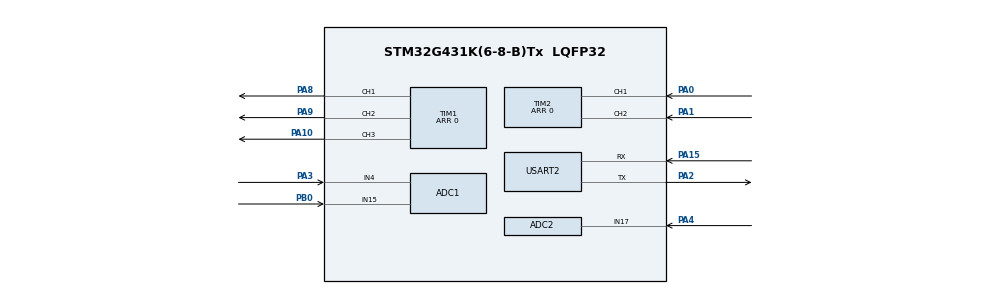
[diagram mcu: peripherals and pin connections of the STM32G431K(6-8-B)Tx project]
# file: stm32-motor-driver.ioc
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ADC1.EOCSelection=ADC_EOC_SEQ_CONV
ADC1.EnableInjectedConversion=ENABLE
ADC1.EnableRegularConversion=DISABLE
ADC1.ExternalTrigInjecConv=ADC_EXTERNALTRIGINJEC_T1_TRGO
ADC1.InjNumberOfConversion=2
ADC1.InjectedChannel-2\#ChannelInjectedConversion=ADC_CHANNEL_4
ADC1.InjectedChannel-3\#ChannelInjectedConversion=ADC_CHANNEL_15
ADC1.InjectedOffsetNumber-2\#ChannelInjectedConversion=ADC_OFFSET_NONE
ADC1.InjectedOffsetNumber-3\#ChannelInjectedConversion=ADC_OFFSET_NONE
ADC1.InjectedRank-2\#ChannelInjectedConversion=1
ADC1.InjectedRank-3\#ChannelInjectedConversion=2
ADC1.InjectedSamplingTime-2\#ChannelInjectedConversion=ADC_SAMPLETIME_24CYCLES_5
ADC1.InjectedSamplingTime-3\#ChannelInjectedConversion=ADC_SAMPLETIME_24CYCLES_5
ADC1.Rank1_Channel=ADC_CHANNEL_4
ADC1.Rank2_Channel=ADC_CHANNEL_15
ADC1.master=1
ADC2.EOCSelection=ADC_EOC_SEQ_CONV
ADC2.EnableInjectedConversion=ENABLE
ADC2.EnableRegularConversion=DISABLE
ADC2.ExternalTrigInjecConv=ADC_EXTERNALTRIGINJEC_T1_TRGO
ADC2.InjNumberOfConversion=1
ADC2.InjectedChannel-1\#ChannelInjectedConversion=ADC_CHANNEL_17
ADC2.InjectedOffsetNumber-1\#ChannelInjectedConversion=ADC_OFFSET_NONE
ADC2.InjectedRank-1\#ChannelInjectedConversion=1
ADC2.InjectedSamplingTime-1\#ChannelInjectedConversion=ADC_SAMPLETIME_24CYCLES_5
ADC2.Rank1_Channel=ADC_CHANNEL_17
ADC2.Rank2_Channel=ADC_CHANNEL_17
Dma.Request0=USART2_TX
Dma.USART2_TX.0.Direction=DMA_MEMORY_TO_PERIPH
Dma.USART2_TX.0.EventEnable=DISABLE
Dma.USART2_TX.0.Instance=DMA1_Channel1
Dma.USART2_TX.0.MemDataAlignment=DMA_MDATAALIGN_BYTE
Dma.USART2_TX.0.MemInc=DMA_MINC_ENABLE
Dma.USART2_TX.0.Mode=DMA_CIRCULAR
Dma.USART2_TX.0.PeriphDataAlignment=DMA_PDATAALIGN_BYTE
Dma.USART2_TX.0.PeriphInc=DMA_PINC_DISABLE
Dma.USART2_TX.0.Polarity=HAL_DMAMUX_REQ_GEN_RISING
Dma.USART2_TX.0.Priority=DMA_PRIORITY_LOW
Dma.USART2_TX.0.RequestNumber=1
Dma.USART2_TX.0.SignalID=NONE
Dma.USART2_TX.0.SyncEnable=DISABLE
Dma.USART2_TX.0.SyncPolarity=HAL_DMAMUX_SYNC_NO_EVENT
Dma.USART2_TX.0.SyncRequestNumber=1
Dma.USART2_TX.0.SyncSignalID=NONE
Mcu.Family=STM32G4
Mcu.Name=STM32G431K(6-8-B)Tx
Mcu.Package=LQFP32
NVIC.ADC1_2_IRQn=true\:0\:0\:false\:false\:true\:true\:true\:true
NVIC.DMA1_Channel1_IRQn=true\:0\:0\:false\:false\:true\:false\:true\:true
NVIC.PriorityGroup=NVIC_PRIORITYGROUP_4
NVIC.TIM1_TRG_COM_TIM17_IRQn=true\:0\:0\:false\:false\:true\:true\:true\:true
NVIC.TIM1_UP_TIM16_IRQn=true\:0\:0\:false\:false\:true\:true\:true\:true
NVIC.TIM2_IRQn=true\:0\:0\:false\:false\:true\:true\:true\:true
NVIC.TIM7_IRQn=true\:0\:0\:false\:false\:true\:true\:true\:true
PA0.Signal=S_TIM2_CH1
PA1.Signal=S_TIM2_CH2
PA10.Signal=S_TIM1_CH3
PA15.Mode=Asynchronous
PA15.Signal=USART2_RX
PA2.Mode=Asynchronous
PA2.Signal=USART2_TX
PA3.Mode=IN4-Single-Ended
PA3.Signal=ADC1_IN4
PA4.Mode=IN17-Single-Ended
PA4.Signal=ADC2_IN17
PA8.Signal=S_TIM1_CH1
PA9.Signal=S_TIM1_CH2
PB0.Mode=IN15-Single-Ended
PB0.Signal=ADC1_IN15
ProjectManager.HeapSize=0x200
ProjectManager.StackSize=0x400
ProjectManager.TargetToolchain=STM32CubeIDE
RCC.ADC12Freq_Value=170000000
RCC.AHBFreq_Value=170000000
RCC.APB1Freq_Value=170000000
RCC.APB1TimFreq_Value=170000000
RCC.APB2Freq_Value=170000000
RCC.APB2TimFreq_Value=170000000
RCC.CortexFreq_Value=170000000
RCC.EXTERNAL_CLOCK_VALUE=12288000
RCC.HCLKFreq_Value=170000000
RCC.HSE_VALUE=8000000
RCC.HSI48_VALUE=48000000
RCC.HSI_VALUE=16000000
RCC.LSE_VALUE=32768
RCC.PLLM=RCC_PLLM_DIV4
RCC.PLLN=85
RCC.SYSCLKFreq_VALUE=170000000
RCC.SYSCLKSource=RCC_SYSCLKSOURCE_PLLCLK
RCC.USBFreq_Value=170000000
RCC.VCOOutputFreq_Value=340000000
SH.S_TIM1_CH1.0=TIM1_CH1,PWM Generation1 CH1
SH.S_TIM1_CH2.0=TIM1_CH2,PWM Generation2 CH2
SH.S_TIM1_CH3.0=TIM1_CH3,PWM Generation3 CH3
SH.S_TIM2_CH1.0=TIM2_CH1,Encoder_Interface
SH.S_TIM2_CH2.0=TIM2_CH2,Encoder_Interface
TIM1.Channel-Output\ Compare4\ No\ Output=TIM_CHANNEL_4
TIM1.Channel-PWM\ Generation1\ CH1=TIM_CHANNEL_1
TIM1.Channel-PWM\ Generation2\ CH2=TIM_CHANNEL_2
TIM1.Channel-PWM\ Generation3\ CH3=TIM_CHANNEL_3
TIM1.CounterMode=TIM_COUNTERMODE_CENTERALIGNED1
TIM1.OCMode_4=TIM_OCMODE_PULSE_ON_COMPARE
TIM1.PeriodNoDither=0
TIM1.TIM_MasterOutputTrigger=TIM_TRGO_OC4REF
TIM16.PeriodNoDither=10000
TIM16.Prescaler=169
TIM17.PeriodNoDither=100
TIM17.Prescaler=169
TIM2.PeriodNoDither=0
TIM7.AutoReloadPreload=TIM_AUTORELOAD_PRELOAD_DISABLE
TIM7.PeriodNoDither=1000
TIM7.Prescaler=169
USART2.VirtualMode-Asynchronous=VM_ASYNC
VP_CORDIC_VS_CORDIC.Mode=CORDIC_Activate
VP_SYS_VS_DBSignals.Mode=DisableDeadBatterySignals
VP_TIM16_VS_ClockSourceINT.Mode=Enable_Timer
VP_TIM17_VS_ClockSourceINT.Mode=Enable_Timer
VP_TIM1_VS_no_output4.Mode=Output Compare4 No Output
VP_TIM7_VS_ClockSourceINT.Mode=Enable_Timer
board=custom

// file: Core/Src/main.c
/* USER CODE BEGIN Header */
/**
  ******************************************************************************
  * @file           : main.c
  * @brief          : Main program body
  ******************************************************************************
  * @attention
  *
  * Copyright (c) 2025 STMicroelectronics.
  * All rights reserved.
  *
  * This software is licensed under terms that can be found in the LICENSE file
  * in the root directory of this software component.
  * If no LICENSE file comes with this software, it is provided AS-IS.
  *
  ******************************************************************************
  */
/* USER CODE END Header */
#include "main.h"

/* USER CODE BEGIN Includes */
#include "constants.h"
#include "motorControl.h"
#include "simple_rpm_dma.h"
/* USER CODE END Includes */

UART_HandleTypeDef huart2;
DMA_HandleTypeDef hdma_usart2_tx;

void SystemClock_Config(void);
static void MX_GPIO_Init(void);
static void MX_DMA_Init(void);
static void MX_TIM1_Init(void);
static void MX_CORDIC_Init(void);
static void MX_TIM2_Init(void);
static void MX_TIM7_Init(void);
static void MX_TIM16_Init(void);
static void MX_TIM17_Init(void);
static void MX_ADC1_Init(void);
static void MX_ADC2_Init(void);
static void MX_USART2_UART_Init(void);

int main(void)
{

  /* MCU Configuration--------------------------------------------------------*/

  /* Reset of all peripherals, Initializes the Flash interface and the Systick. */
  HAL_Init();

  /* Configure the system clock */
  SystemClock_Config();

  /* Initialize all configured peripherals */
  MX_GPIO_Init();
  MX_DMA_Init();
  MX_TIM1_Init();
  MX_CORDIC_Init();
  MX_TIM2_Init();
  MX_TIM7_Init();
  MX_TIM16_Init();
  MX_TIM17_Init();
  MX_ADC1_Init();
  MX_ADC2_Init();
  MX_USART2_UART_Init();
  /* USER CODE BEGIN 2 */

  // Start continuous RPM transmission
  RPM_DMA_Init();

  /* USER CODE END 2 */

  /* Infinite loop */
  /* USER CODE BEGIN WHILE */

  TIM1->ARR = PWM_PERIOD;
  LL_TIM_EnableCounter(TIM1);
  LL_TIM_CC_EnableChannel(TIM1, LL_TIM_CHANNEL_CH1);
  LL_TIM_CC_EnableChannel(TIM1, LL_TIM_CHANNEL_CH2);
  LL_TIM_CC_EnableChannel(TIM1, LL_TIM_CHANNEL_CH3);
  // Channel 4 used to trigger ADC
  LL_TIM_CC_EnableChannel(TIM1, LL_TIM_CHANNEL_CH4);
  LL_TIM_OC_SetCompareCH4(TIM1, PWM_PERIOD - 165);

  LL_TIM_EnableAllOutputs(TIM1);

  LL_ADC_INJ_StartConversion(ADC2);
  LL_ADC_INJ_StartConversion(ADC1);

  mainLoop();

  while (1)
  {
    /* USER CODE END WHILE */

  }
}

void SystemClock_Config(void)
{
  LL_FLASH_SetLatency(LL_FLASH_LATENCY_4);
  while(LL_FLASH_GetLatency() != LL_FLASH_LATENCY_4)
  {
  }
  LL_PWR_EnableRange1BoostMode();
  LL_RCC_HSI_Enable();
   /* Wait till HSI is ready */
  while(LL_RCC_HSI_IsReady() != 1)
  {
  }

  LL_RCC_HSI_SetCalibTrimming(64);
  LL_RCC_PLL_ConfigDomain_SYS(LL_RCC_PLLSOURCE_HSI, LL_RCC_PLLM_DIV_4, 85, LL_RCC_PLLR_DIV_2);
  LL_RCC_PLL_EnableDomain_SYS();
  LL_RCC_PLL_Enable();
   /* Wait till PLL is ready */
  while(LL_RCC_PLL_IsReady() != 1)
  {
  }

  LL_RCC_SetSysClkSource(LL_RCC_SYS_CLKSOURCE_PLL);
  LL_RCC_SetAHBPrescaler(LL_RCC_SYSCLK_DIV_2);
   /* Wait till System clock is ready */
  while(LL_RCC_GetSysClkSource() != LL_RCC_SYS_CLKSOURCE_STATUS_PLL)
  {
  }

  /* Insure 1us transition state at intermediate medium speed clock*/
  for (__IO uint32_t i = (170 >> 1); i !=0; i--);

  /* Set AHB prescaler*/
  LL_RCC_SetAHBPrescaler(LL_RCC_SYSCLK_DIV_1);
  LL_RCC_SetAPB1Prescaler(LL_RCC_APB1_DIV_1);
  LL_RCC_SetAPB2Prescaler(LL_RCC_APB2_DIV_1);
  LL_SetSystemCoreClock(170000000);

   /* Update the time base */
  if (HAL_InitTick (TICK_INT_PRIORITY) != HAL_OK)
  {
    Error_Handler();
  }
}

static void MX_ADC1_Init(void)
{

  LL_ADC_InitTypeDef ADC_InitStruct = {0};
  LL_ADC_REG_InitTypeDef ADC_REG_InitStruct = {0};
  LL_ADC_CommonInitTypeDef ADC_CommonInitStruct = {0};
  LL_ADC_INJ_InitTypeDef ADC_INJ_InitStruct = {0};

  LL_GPIO_InitTypeDef GPIO_InitStruct = {0};

  LL_RCC_SetADCClockSource(LL_RCC_ADC12_CLKSOURCE_SYSCLK);

  /* Peripheral clock enable */
  LL_AHB2_GRP1_EnableClock(LL_AHB2_GRP1_PERIPH_ADC12);

  LL_AHB2_GRP1_EnableClock(LL_AHB2_GRP1_PERIPH_GPIOA);
  LL_AHB2_GRP1_EnableClock(LL_AHB2_GRP1_PERIPH_GPIOB);
  /**ADC1 GPIO Configuration
  PA3   ------> ADC1_IN4
  PB0   ------> ADC1_IN15
  */
  GPIO_InitStruct.Pin = LL_GPIO_PIN_3;
  GPIO_InitStruct.Mode = LL_GPIO_MODE_ANALOG;
  GPIO_InitStruct.Pull = LL_GPIO_PULL_NO;
  LL_GPIO_Init(GPIOA, &GPIO_InitStruct);

  GPIO_InitStruct.Pin = LL_GPIO_PIN_0;
  GPIO_InitStruct.Mode = LL_GPIO_MODE_ANALOG;
  GPIO_InitStruct.Pull = LL_GPIO_PULL_NO;
  LL_GPIO_Init(GPIOB, &GPIO_InitStruct);

  /* ADC1 interrupt Init */
  NVIC_SetPriority(ADC1_2_IRQn, NVIC_EncodePriority(NVIC_GetPriorityGrouping(),0, 0));
  NVIC_EnableIRQ(ADC1_2_IRQn);

  /** Common config
  */
  ADC_InitStruct.Resolution = LL_ADC_RESOLUTION_12B;
  ADC_InitStruct.DataAlignment = LL_ADC_DATA_ALIGN_RIGHT;
  ADC_InitStruct.LowPowerMode = LL_ADC_LP_MODE_NONE;
  LL_ADC_Init(ADC1, &ADC_InitStruct);
  ADC_REG_InitStruct.SequencerLength = LL_ADC_REG_SEQ_SCAN_DISABLE;
  ADC_REG_InitStruct.SequencerDiscont = LL_ADC_REG_SEQ_DISCONT_DISABLE;
  ADC_REG_InitStruct.ContinuousMode = LL_ADC_REG_CONV_SINGLE;
  ADC_REG_InitStruct.DMATransfer = LL_ADC_REG_DMA_TRANSFER_NONE;
  ADC_REG_InitStruct.Overrun = LL_ADC_REG_OVR_DATA_PRESERVED;
  LL_ADC_REG_Init(ADC1, &ADC_REG_InitStruct);
  LL_ADC_SetGainCompensation(ADC1, 0);
  LL_ADC_SetOverSamplingScope(ADC1, LL_ADC_OVS_DISABLE);
  ADC_CommonInitStruct.CommonClock = LL_ADC_CLOCK_SYNC_PCLK_DIV4;
  ADC_CommonInitStruct.Multimode = LL_ADC_MULTI_INDEPENDENT;
  LL_ADC_CommonInit(__LL_ADC_COMMON_INSTANCE(ADC1), &ADC_CommonInitStruct);
  ADC_INJ_InitStruct.TriggerSource = LL_ADC_INJ_TRIG_EXT_TIM1_TRGO;
  ADC_INJ_InitStruct.SequencerLength = LL_ADC_INJ_SEQ_SCAN_ENABLE_2RANKS;
  ADC_INJ_InitStruct.SequencerDiscont = LL_ADC_INJ_SEQ_DISCONT_DISABLE;
  ADC_INJ_InitStruct.TrigAuto = LL_ADC_INJ_TRIG_INDEPENDENT;
  LL_ADC_INJ_Init(ADC1, &ADC_INJ_InitStruct);
  LL_ADC_INJ_SetQueueMode(ADC1, LL_ADC_INJ_QUEUE_DISABLE);
  LL_ADC_INJ_SetTriggerEdge(ADC1, LL_ADC_INJ_TRIG_EXT_RISING);

  /* Disable ADC deep power down (enabled by default after reset state) */
  LL_ADC_DisableDeepPowerDown(ADC1);
  /* Enable ADC internal voltage regulator */
  LL_ADC_EnableInternalRegulator(ADC1);
  /* Delay for ADC internal voltage regulator stabilization. */
  /* Compute number of CPU cycles to wait for, from delay in us. */
  /* Note: Variable divided by 2 to compensate partially */
  /* CPU processing cycles (depends on compilation optimization). */
  /* Note: If system core clock frequency is below 200kHz, wait time */
  /* is only a few CPU processing cycles. */
  uint32_t wait_loop_index;
  wait_loop_index = ((LL_ADC_DELAY_INTERNAL_REGUL_STAB_US * (SystemCoreClock / (100000 * 2))) / 10);
  while(wait_loop_index != 0)
  {
    wait_loop_index--;
  }

  /** Configure Injected Channel
  */
  LL_ADC_INJ_SetSequencerRanks(ADC1, LL_ADC_INJ_RANK_1, LL_ADC_CHANNEL_4);
  LL_ADC_SetChannelSamplingTime(ADC1, LL_ADC_CHANNEL_4, LL_ADC_SAMPLINGTIME_24CYCLES_5);
  LL_ADC_SetChannelSingleDiff(ADC1, LL_ADC_CHANNEL_4, LL_ADC_SINGLE_ENDED);

  /** Configure Injected Channel
  */
  LL_ADC_INJ_SetSequencerRanks(ADC1, LL_ADC_INJ_RANK_2, LL_ADC_CHANNEL_15);
  LL_ADC_SetChannelSamplingTime(ADC1, LL_ADC_CHANNEL_15, LL_ADC_SAMPLINGTIME_24CYCLES_5);
  LL_ADC_SetChannelSingleDiff(ADC1, LL_ADC_CHANNEL_15, LL_ADC_SINGLE_ENDED);
  /* USER CODE BEGIN ADC1_Init 2 */
  LL_ADC_Enable(ADC1);
  while (!LL_ADC_IsActiveFlag_ADRDY(ADC1)); // Wait until ADC ready
  LL_ADC_ClearFlag_ADRDY(ADC1); // Clear ADC ready flag

  LL_ADC_EnableIT_JEOS(ADC1);
  /* USER CODE END ADC1_Init 2 */

}

static void MX_ADC2_Init(void)
{

  LL_ADC_InitTypeDef ADC_InitStruct = {0};
  LL_ADC_REG_InitTypeDef ADC_REG_InitStruct = {0};
  LL_ADC_INJ_InitTypeDef ADC_INJ_InitStruct = {0};

  LL_GPIO_InitTypeDef GPIO_InitStruct = {0};

  LL_RCC_SetADCClockSource(LL_RCC_ADC12_CLKSOURCE_SYSCLK);

  /* Peripheral clock enable */
  LL_AHB2_GRP1_EnableClock(LL_AHB2_GRP1_PERIPH_ADC12);

  LL_AHB2_GRP1_EnableClock(LL_AHB2_GRP1_PERIPH_GPIOA);
  /**ADC2 GPIO Configuration
  PA4   ------> ADC2_IN17
  */
  GPIO_InitStruct.Pin = LL_GPIO_PIN_4;
  GPIO_InitStruct.Mode = LL_GPIO_MODE_ANALOG;
  GPIO_InitStruct.Pull = LL_GPIO_PULL_NO;
  LL_GPIO_Init(GPIOA, &GPIO_InitStruct);

  /* ADC2 interrupt Init */
  NVIC_SetPriority(ADC1_2_IRQn, NVIC_EncodePriority(NVIC_GetPriorityGrouping(),0, 0));
  NVIC_EnableIRQ(ADC1_2_IRQn);

  /** Common config
  */
  ADC_InitStruct.Resolution = LL_ADC_RESOLUTION_12B;
  ADC_InitStruct.DataAlignment = LL_ADC_DATA_ALIGN_RIGHT;
  ADC_InitStruct.LowPowerMode = LL_ADC_LP_MODE_NONE;
  LL_ADC_Init(ADC2, &ADC_InitStruct);
  ADC_REG_InitStruct.SequencerLength = LL_ADC_REG_SEQ_SCAN_DISABLE;
  ADC_REG_InitStruct.SequencerDiscont = LL_ADC_REG_SEQ_DISCONT_DISABLE;
  ADC_REG_InitStruct.ContinuousMode = LL_ADC_REG_CONV_SINGLE;
  ADC_REG_InitStruct.DMATransfer = LL_ADC_REG_DMA_TRANSFER_NONE;
  ADC_REG_InitStruct.Overrun = LL_ADC_REG_OVR_DATA_PRESERVED;
  LL_ADC_REG_Init(ADC2, &ADC_REG_InitStruct);
  LL_ADC_SetGainCompensation(ADC2, 0);
  LL_ADC_SetOverSamplingScope(ADC2, LL_ADC_OVS_DISABLE);
  ADC_INJ_InitStruct.TriggerSource = LL_ADC_INJ_TRIG_EXT_TIM1_TRGO;
  ADC_INJ_InitStruct.SequencerLength = LL_ADC_INJ_SEQ_SCAN_DISABLE;
  ADC_INJ_InitStruct.SequencerDiscont = LL_ADC_INJ_SEQ_DISCONT_DISABLE;
  ADC_INJ_InitStruct.TrigAuto = LL_ADC_INJ_TRIG_INDEPENDENT;
  LL_ADC_INJ_Init(ADC2, &ADC_INJ_InitStruct);
  LL_ADC_INJ_SetQueueMode(ADC2, LL_ADC_INJ_QUEUE_DISABLE);
  LL_ADC_INJ_SetTriggerEdge(ADC2, LL_ADC_INJ_TRIG_EXT_RISING);

  /* Disable ADC deep power down (enabled by default after reset state) */
  LL_ADC_DisableDeepPowerDown(ADC2);
  /* Enable ADC internal voltage regulator */
  LL_ADC_EnableInternalRegulator(ADC2);
  /* Delay for ADC internal voltage regulator stabilization. */
  /* Compute number of CPU cycles to wait for, from delay in us. */
  /* Note: Variable divided by 2 to compensate partially */
  /* CPU processing cycles (depends on compilation optimization). */
  /* Note: If system core clock frequency is below 200kHz, wait time */
  /* is only a few CPU processing cycles. */
  uint32_t wait_loop_index;
  wait_loop_index = ((LL_ADC_DELAY_INTERNAL_REGUL_STAB_US * (SystemCoreClock / (100000 * 2))) / 10);
  while(wait_loop_index != 0)
  {
    wait_loop_index--;
  }

  /** Configure Injected Channel
  */
  LL_ADC_INJ_SetSequencerRanks(ADC2, LL_ADC_INJ_RANK_1, LL_ADC_CHANNEL_17);
  LL_ADC_SetChannelSamplingTime(ADC2, LL_ADC_CHANNEL_17, LL_ADC_SAMPLINGTIME_24CYCLES_5);
  LL_ADC_SetChannelSingleDiff(ADC2, LL_ADC_CHANNEL_17, LL_ADC_SINGLE_ENDED);
  /* USER CODE BEGIN ADC2_Init 2 */
  LL_ADC_Enable(ADC2);
  while (!LL_ADC_IsActiveFlag_ADRDY(ADC2)); // Wait until ADC ready
  LL_ADC_ClearFlag_ADRDY(ADC2); // Clear ADC ready flag

  LL_ADC_EnableIT_JEOS(ADC2);
  /* USER CODE END ADC2_Init 2 */

}

static void MX_CORDIC_Init(void)
{

  /* Peripheral clock enable */
  LL_AHB1_GRP1_EnableClock(LL_AHB1_GRP1_PERIPH_CORDIC);

  /* USER CODE BEGIN CORDIC_Init 1 */
  LL_CORDIC_SetFunction(CORDIC, LL_CORDIC_FUNCTION_SINE);
  LL_CORDIC_SetPrecision(CORDIC, LL_CORDIC_PRECISION_5CYCLES);
  LL_CORDIC_SetNbWrite(CORDIC, LL_CORDIC_NBWRITE_1);
  LL_CORDIC_SetNbRead(CORDIC, LL_CORDIC_NBREAD_1);
  LL_CORDIC_SetInSize(CORDIC, LL_CORDIC_INSIZE_16BITS);
  LL_CORDIC_SetOutSize(CORDIC, LL_CORDIC_OUTSIZE_16BITS);
  /* USER CODE END CORDIC_Init 1 */

  /* nothing else to be configured */

}

static void MX_TIM1_Init(void)
{

  LL_TIM_InitTypeDef TIM_InitStruct = {0};
  LL_TIM_OC_InitTypeDef TIM_OC_InitStruct = {0};
  LL_TIM_BDTR_InitTypeDef TIM_BDTRInitStruct = {0};

  LL_GPIO_InitTypeDef GPIO_InitStruct = {0};

  /* Peripheral clock enable */
  LL_APB2_GRP1_EnableClock(LL_APB2_GRP1_PERIPH_TIM1);

  /* TIM1 interrupt Init */
  NVIC_SetPriority(TIM1_UP_TIM16_IRQn, NVIC_EncodePriority(NVIC_GetPriorityGrouping(),0, 0));
  NVIC_EnableIRQ(TIM1_UP_TIM16_IRQn);
  NVIC_SetPriority(TIM1_TRG_COM_TIM17_IRQn, NVIC_EncodePriority(NVIC_GetPriorityGrouping(),0, 0));
  NVIC_EnableIRQ(TIM1_TRG_COM_TIM17_IRQn);

  TIM_InitStruct.Prescaler = 0;
  TIM_InitStruct.CounterMode = LL_TIM_COUNTERMODE_CENTER_DOWN;
  TIM_InitStruct.Autoreload = 0;
  TIM_InitStruct.ClockDivision = LL_TIM_CLOCKDIVISION_DIV1;
  TIM_InitStruct.RepetitionCounter = 0;
  LL_TIM_Init(TIM1, &TIM_InitStruct);
  LL_TIM_DisableARRPreload(TIM1);
  LL_TIM_OC_EnablePreload(TIM1, LL_TIM_CHANNEL_CH1);
  TIM_OC_InitStruct.OCMode = LL_TIM_OCMODE_PWM1;
  TIM_OC_InitStruct.OCState = LL_TIM_OCSTATE_DISABLE;
  TIM_OC_InitStruct.OCNState = LL_TIM_OCSTATE_DISABLE;
  TIM_OC_InitStruct.CompareValue = 0;
  TIM_OC_InitStruct.OCPolarity = LL_TIM_OCPOLARITY_HIGH;
  TIM_OC_InitStruct.OCNPolarity = LL_TIM_OCPOLARITY_HIGH;
  TIM_OC_InitStruct.OCIdleState = LL_TIM_OCIDLESTATE_LOW;
  TIM_OC_InitStruct.OCNIdleState = LL_TIM_OCIDLESTATE_LOW;
  LL_TIM_OC_Init(TIM1, LL_TIM_CHANNEL_CH1, &TIM_OC_InitStruct);
  LL_TIM_OC_DisableFast(TIM1, LL_TIM_CHANNEL_CH1);
  LL_TIM_OC_EnablePreload(TIM1, LL_TIM_CHANNEL_CH2);
  LL_TIM_OC_Init(TIM1, LL_TIM_CHANNEL_CH2, &TIM_OC_InitStruct);
  LL_TIM_OC_DisableFast(TIM1, LL_TIM_CHANNEL_CH2);
  LL_TIM_OC_EnablePreload(TIM1, LL_TIM_CHANNEL_CH3);
  LL_TIM_OC_Init(TIM1, LL_TIM_CHANNEL_CH3, &TIM_OC_InitStruct);
  LL_TIM_OC_DisableFast(TIM1, LL_TIM_CHANNEL_CH3);
  TIM_OC_InitStruct.OCMode = LL_TIM_OCMODE_PULSE_ON_COMPARE;
  LL_TIM_OC_Init(TIM1, LL_TIM_CHANNEL_CH4, &TIM_OC_InitStruct);
  LL_TIM_OC_DisableFast(TIM1, LL_TIM_CHANNEL_CH4);
  LL_TIM_OC_SetPulseWidthPrescaler(TIM1, LL_TIM_PWPRSC_X1);
  LL_TIM_OC_SetPulseWidth(TIM1, 0);
  LL_TIM_SetTriggerOutput(TIM1, LL_TIM_TRGO_OC4REF);
  LL_TIM_SetTriggerOutput2(TIM1, LL_TIM_TRGO2_RESET);
  LL_TIM_DisableMasterSlaveMode(TIM1);
  TIM_BDTRInitStruct.OSSRState = LL_TIM_OSSR_DISABLE;
  TIM_BDTRInitStruct.OSSIState = LL_TIM_OSSI_DISABLE;
  TIM_BDTRInitStruct.LockLevel = LL_TIM_LOCKLEVEL_OFF;
  TIM_BDTRInitStruct.DeadTime = 0;
  TIM_BDTRInitStruct.BreakState = LL_TIM_BREAK_DISABLE;
  TIM_BDTRInitStruct.BreakPolarity = LL_TIM_BREAK_POLARITY_HIGH;
  TIM_BDTRInitStruct.BreakFilter = LL_TIM_BREAK_FILTER_FDIV1;
  TIM_BDTRInitStruct.BreakAFMode = LL_TIM_BREAK_AFMODE_INPUT;
  TIM_BDTRInitStruct.Break2State = LL_TIM_BREAK2_DISABLE;
  TIM_BDTRInitStruct.Break2Polarity = LL_TIM_BREAK2_POLARITY_HIGH;
  TIM_BDTRInitStruct.Break2Filter = LL_TIM_BREAK2_FILTER_FDIV1;
  TIM_BDTRInitStruct.Break2AFMode = LL_TIM_BREAK_AFMODE_INPUT;
  TIM_BDTRInitStruct.AutomaticOutput = LL_TIM_AUTOMATICOUTPUT_DISABLE;
  LL_TIM_BDTR_Init(TIM1, &TIM_BDTRInitStruct);
  /* USER CODE BEGIN TIM1_Init 2 */
  LL_TIM_OC_SetPulseWidthPrescaler(TIM1, LL_TIM_PWPRSC_X1);
  LL_TIM_OC_SetPulseWidth(TIM1, 100);
  /* USER CODE END TIM1_Init 2 */
  LL_AHB2_GRP1_EnableClock(LL_AHB2_GRP1_PERIPH_GPIOA);
  /**TIM1 GPIO Configuration
  PA8   ------> TIM1_CH1
  PA9   ------> TIM1_CH2
  PA10   ------> TIM1_CH3
  */
  GPIO_InitStruct.Pin = LL_GPIO_PIN_8;
  GPIO_InitStruct.Mode = LL_GPIO_MODE_ALTERNATE;
  GPIO_InitStruct.Speed = LL_GPIO_SPEED_FREQ_LOW;
  GPIO_InitStruct.OutputType = LL_GPIO_OUTPUT_PUSHPULL;
  GPIO_InitStruct.Pull = LL_GPIO_PULL_NO;
  GPIO_InitStruct.Alternate = LL_GPIO_AF_6;
  LL_GPIO_Init(GPIOA, &GPIO_InitStruct);

  GPIO_InitStruct.Pin = LL_GPIO_PIN_9;
  GPIO_InitStruct.Mode = LL_GPIO_MODE_ALTERNATE;
  GPIO_InitStruct.Speed = LL_GPIO_SPEED_FREQ_LOW;
  GPIO_InitStruct.OutputType = LL_GPIO_OUTPUT_PUSHPULL;
  GPIO_InitStruct.Pull = LL_GPIO_PULL_NO;
  GPIO_InitStruct.Alternate = LL_GPIO_AF_6;
  LL_GPIO_Init(GPIOA, &GPIO_InitStruct);

  GPIO_InitStruct.Pin = LL_GPIO_PIN_10;
  GPIO_InitStruct.Mode = LL_GPIO_MODE_ALTERNATE;
  GPIO_InitStruct.Speed = LL_GPIO_SPEED_FREQ_LOW;
  GPIO_InitStruct.OutputType = LL_GPIO_OUTPUT_PUSHPULL;
  GPIO_InitStruct.Pull = LL_GPIO_PULL_NO;
  GPIO_InitStruct.Alternate = LL_GPIO_AF_6;
  LL_GPIO_Init(GPIOA, &GPIO_InitStruct);

}

static void MX_TIM2_Init(void)
{

  LL_TIM_InitTypeDef TIM_InitStruct = {0};

  LL_GPIO_InitTypeDef GPIO_InitStruct = {0};

  /* Peripheral clock enable */
  LL_APB1_GRP1_EnableClock(LL_APB1_GRP1_PERIPH_TIM2);

  LL_AHB2_GRP1_EnableClock(LL_AHB2_GRP1_PERIPH_GPIOA);
  /**TIM2 GPIO Configuration
  PA0   ------> TIM2_CH1
  PA1   ------> TIM2_CH2
  */
  GPIO_InitStruct.Pin = LL_GPIO_PIN_0;
  GPIO_InitStruct.Mode = LL_GPIO_MODE_ALTERNATE;
  GPIO_InitStruct.Speed = LL_GPIO_SPEED_FREQ_LOW;
  GPIO_InitStruct.OutputType = LL_GPIO_OUTPUT_PUSHPULL;
  GPIO_InitStruct.Pull = LL_GPIO_PULL_NO;
  GPIO_InitStruct.Alternate = LL_GPIO_AF_1;
  LL_GPIO_Init(GPIOA, &GPIO_InitStruct);

  GPIO_InitStruct.Pin = LL_GPIO_PIN_1;
  GPIO_InitStruct.Mode = LL_GPIO_MODE_ALTERNATE;
  GPIO_InitStruct.Speed = LL_GPIO_SPEED_FREQ_LOW;
  GPIO_InitStruct.OutputType = LL_GPIO_OUTPUT_PUSHPULL;
  GPIO_InitStruct.Pull = LL_GPIO_PULL_NO;
  GPIO_InitStruct.Alternate = LL_GPIO_AF_1;
  LL_GPIO_Init(GPIOA, &GPIO_InitStruct);

  /* TIM2 interrupt Init */
  NVIC_SetPriority(TIM2_IRQn, NVIC_EncodePriority(NVIC_GetPriorityGrouping(),0, 0));
  NVIC_EnableIRQ(TIM2_IRQn);

  TIM_InitStruct.Prescaler = 0;
  TIM_InitStruct.CounterMode = LL_TIM_COUNTERMODE_UP;
  TIM_InitStruct.Autoreload = 0;
  TIM_InitStruct.ClockDivision = LL_TIM_CLOCKDIVISION_DIV1;
  LL_TIM_Init(TIM2, &TIM_InitStruct);
  LL_TIM_DisableARRPreload(TIM2);
  LL_TIM_SetEncoderMode(TIM2, LL_TIM_ENCODERMODE_X2_TI1);
  LL_TIM_IC_SetActiveInput(TIM2, LL_TIM_CHANNEL_CH1, LL_TIM_ACTIVEINPUT_DIRECTTI);
  LL_TIM_IC_SetPrescaler(TIM2, LL_TIM_CHANNEL_CH1, LL_TIM_ICPSC_DIV1);
  LL_TIM_IC_SetFilter(TIM2, LL_TIM_CHANNEL_CH1, LL_TIM_IC_FILTER_FDIV1);
  LL_TIM_IC_SetPolarity(TIM2, LL_TIM_CHANNEL_CH1, LL_TIM_IC_POLARITY_RISING);
  LL_TIM_IC_SetActiveInput(TIM2, LL_TIM_CHANNEL_CH2, LL_TIM_ACTIVEINPUT_DIRECTTI);
  LL_TIM_IC_SetPrescaler(TIM2, LL_TIM_CHANNEL_CH2, LL_TIM_ICPSC_DIV1);
  LL_TIM_IC_SetFilter(TIM2, LL_TIM_CHANNEL_CH2, LL_TIM_IC_FILTER_FDIV1);
  LL_TIM_IC_SetPolarity(TIM2, LL_TIM_CHANNEL_CH2, LL_TIM_IC_POLARITY_RISING);
  LL_TIM_SetTriggerOutput(TIM2, LL_TIM_TRGO_RESET);
  LL_TIM_DisableMasterSlaveMode(TIM2);
  /* USER CODE BEGIN TIM2_Init 2 */
  TIM2->ARR = ENCODER_RES - 1;
  LL_TIM_EnableCounter(TIM2);

  LL_TIM_EnableIT_UPDATE(TIM2);
  /* USER CODE END TIM2_Init 2 */

}

static void MX_TIM7_Init(void)
{

  LL_TIM_InitTypeDef TIM_InitStruct = {0};

  /* Peripheral clock enable */
  LL_APB1_GRP1_EnableClock(LL_APB1_GRP1_PERIPH_TIM7);

  /* TIM7 interrupt Init */
  NVIC_SetPriority(TIM7_IRQn, NVIC_EncodePriority(NVIC_GetPriorityGrouping(),0, 0));
  NVIC_EnableIRQ(TIM7_IRQn);

  TIM_InitStruct.Prescaler = 169;
  TIM_InitStruct.CounterMode = LL_TIM_COUNTERMODE_UP;
  TIM_InitStruct.Autoreload = 1000;
  LL_TIM_Init(TIM7, &TIM_InitStruct);
  LL_TIM_DisableARRPreload(TIM7);
  LL_TIM_SetTriggerOutput(TIM7, LL_TIM_TRGO_RESET);
  LL_TIM_DisableMasterSlaveMode(TIM7);
  /* USER CODE BEGIN TIM7_Init 2 */
  LL_TIM_EnableIT_UPDATE(TIM7);
  /* USER CODE END TIM7_Init 2 */

}

static void MX_TIM16_Init(void)
{

  LL_TIM_InitTypeDef TIM_InitStruct = {0};

  /* Peripheral clock enable */
  LL_APB2_GRP1_EnableClock(LL_APB2_GRP1_PERIPH_TIM16);

  /* TIM16 interrupt Init */
  NVIC_SetPriority(TIM1_UP_TIM16_IRQn, NVIC_EncodePriority(NVIC_GetPriorityGrouping(),0, 0));
  NVIC_EnableIRQ(TIM1_UP_TIM16_IRQn);

  TIM_InitStruct.Prescaler = 169;
  TIM_InitStruct.CounterMode = LL_TIM_COUNTERMODE_UP;
  TIM_InitStruct.Autoreload = 10000;
  TIM_InitStruct.ClockDivision = LL_TIM_CLOCKDIVISION_DIV1;
  TIM_InitStruct.RepetitionCounter = 0;
  LL_TIM_Init(TIM16, &TIM_InitStruct);
  LL_TIM_DisableARRPreload(TIM16);
  /* USER CODE BEGIN TIM16_Init 2 */
  LL_TIM_EnableIT_UPDATE(TIM16);
  /* USER CODE END TIM16_Init 2 */

}

static void MX_TIM17_Init(void)
{

  LL_TIM_InitTypeDef TIM_InitStruct = {0};

  /* Peripheral clock enable */
  LL_APB2_GRP1_EnableClock(LL_APB2_GRP1_PERIPH_TIM17);

  /* TIM17 interrupt Init */
  NVIC_SetPriority(TIM1_TRG_COM_TIM17_IRQn, NVIC_EncodePriority(NVIC_GetPriorityGrouping(),0, 0));
  NVIC_EnableIRQ(TIM1_TRG_COM_TIM17_IRQn);

  TIM_InitStruct.Prescaler = 169;
  TIM_InitStruct.CounterMode = LL_TIM_COUNTERMODE_UP;
  TIM_InitStruct.Autoreload = 100;
  TIM_InitStruct.ClockDivision = LL_TIM_CLOCKDIVISION_DIV1;
  TIM_InitStruct.RepetitionCounter = 0;
  LL_TIM_Init(TIM17, &TIM_InitStruct);
  LL_TIM_DisableARRPreload(TIM17);
  /* USER CODE BEGIN TIM17_Init 2 */
  LL_TIM_EnableIT_UPDATE(TIM17);
  /* USER CODE END TIM17_Init 2 */

}

static void MX_USART2_UART_Init(void)
{

  huart2.Instance = USART2;
  huart2.Init.BaudRate = 115200;
  huart2.Init.WordLength = UART_WORDLENGTH_8B;
  huart2.Init.StopBits = UART_STOPBITS_1;
  huart2.Init.Parity = UART_PARITY_NONE;
  huart2.Init.Mode = UART_MODE_TX_RX;
  huart2.Init.HwFlowCtl = UART_HWCONTROL_NONE;
  huart2.Init.OverSampling = UART_OVERSAMPLING_16;
  huart2.Init.OneBitSampling = UART_ONE_BIT_SAMPLE_DISABLE;
  huart2.Init.ClockPrescaler = UART_PRESCALER_DIV1;
  huart2.AdvancedInit.AdvFeatureInit = UART_ADVFEATURE_NO_INIT;
  if (HAL_UART_Init(&huart2) != HAL_OK)
  {
    Error_Handler();
  }
  if (HAL_UARTEx_SetTxFifoThreshold(&huart2, UART_TXFIFO_THRESHOLD_1_8) != HAL_OK)
  {
    Error_Handler();
  }
  if (HAL_UARTEx_SetRxFifoThreshold(&huart2, UART_RXFIFO_THRESHOLD_1_8) != HAL_OK)
  {
    Error_Handler();
  }
  if (HAL_UARTEx_DisableFifoMode(&huart2) != HAL_OK)
  {
    Error_Handler();
  }

}

static void MX_DMA_Init(void)
{

  /* DMA controller clock enable */
  __HAL_RCC_DMAMUX1_CLK_ENABLE();
  __HAL_RCC_DMA1_CLK_ENABLE();

  /* DMA interrupt init */
  /* DMA1_Channel1_IRQn interrupt configuration */
  HAL_NVIC_SetPriority(DMA1_Channel1_IRQn, 0, 0);
  HAL_NVIC_EnableIRQ(DMA1_Channel1_IRQn);

}

static void MX_GPIO_Init(void)
{

  /* GPIO Ports Clock Enable */
  LL_AHB2_GRP1_EnableClock(LL_AHB2_GRP1_PERIPH_GPIOA);
  LL_AHB2_GRP1_EnableClock(LL_AHB2_GRP1_PERIPH_GPIOB);

}

void Error_Handler(void)
{
  __disable_irq();
  while (1)
  {
  }
}
